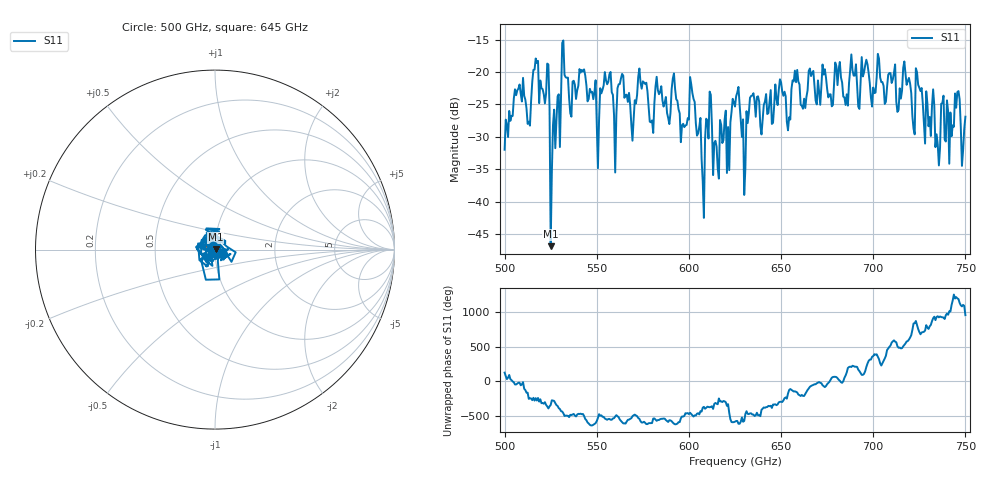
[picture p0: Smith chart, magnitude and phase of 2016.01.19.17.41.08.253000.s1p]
!Created with skrf (http://scikit-rf.org).
# GHz S RI R 50.0
!freq ReS11 ImS11
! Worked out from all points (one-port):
!   401 points, 500 GHz to 750 GHz, reference 50 ohm
!   lowest |S11| = -46.9 dB at 525 GHz (marker M1), VSWR 1.01, Z = 50.4 + j0.106 ohm
!   |S11| at or under -10 dB: start of sweep to end of sweep
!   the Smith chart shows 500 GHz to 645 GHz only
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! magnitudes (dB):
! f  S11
! 500 GHz  -32.0
! 506.9 GHz  -22.8
! 513.1 GHz  -27.7
! 516.9 GHz  -17.9
! 523.1 GHz  -18.7
! 525 GHz  -46.9
! 531.2 GHz  -15.5
! 541.9 GHz  -19.7
! 551.2 GHz  -27.4
! 562.5 GHz  -21.9
! 569.4 GHz  -30.6
! 573.8 GHz  -21.6
! 579.4 GHz  -27.8
! 593.8 GHz  -24.4
! 596.9 GHz  -28.0
! 601.9 GHz  -23.2
! 608.1 GHz  -42.5
! 610.6 GHz  -30.3
! 615 GHz  -31.5
! 625 GHz  -25.3
! 629.4 GHz  -27.3
! 634.4 GHz  -23.6
! 656.2 GHz  -21.3
! 687.5 GHz  -19.7
! 718.8 GHz  -21.4
! 735 GHz  -31.2
! 745.6 GHz  -23.1
! 750 GHz  -26.9
